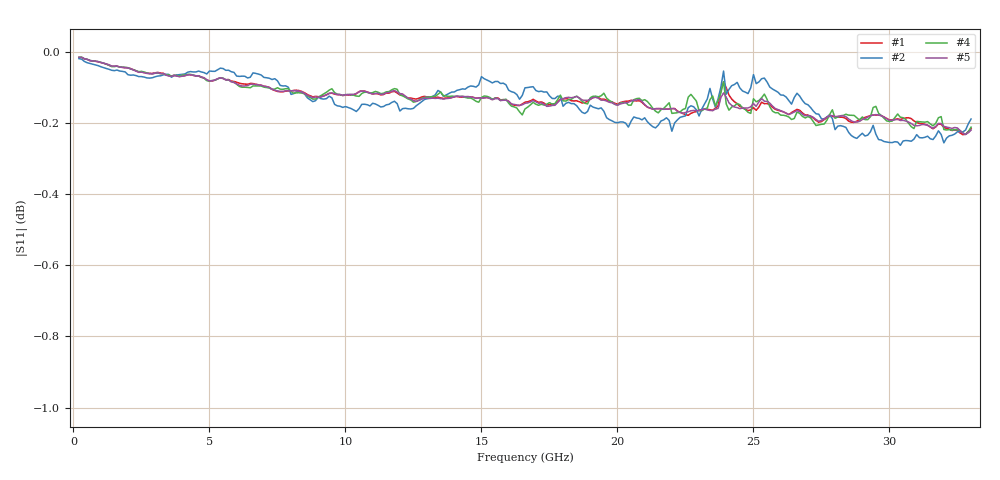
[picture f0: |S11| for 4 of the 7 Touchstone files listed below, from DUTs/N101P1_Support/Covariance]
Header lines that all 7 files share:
# GHZ S RI R 50
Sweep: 200 MHz to 33 GHz
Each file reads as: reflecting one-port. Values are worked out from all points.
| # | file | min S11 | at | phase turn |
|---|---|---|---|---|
| 1 | N101P1_2.s2p | -0.2 dB | 32.7 GHz | -2367 deg |
| 2 | N101P1_3.s2p | -0.3 dB | 30.4 GHz | -2367 deg |
| 3 | N101P1_6.s2p | -0.2 dB | 32.7 GHz | -2367 deg |
| 4 | N101P1_7.s2p | -0.2 dB | 32.8 GHz | -2367 deg |
| 5 | N101P1_11.s2p | -0.2 dB | 32.8 GHz | -2368 deg |
| 6 | N101P1_12.s2p | -0.2 dB | 32.7 GHz | -2367 deg |
| 7 | N101P1_13.s2p | -0.2 dB | 32.7 GHz | -2367 deg |
